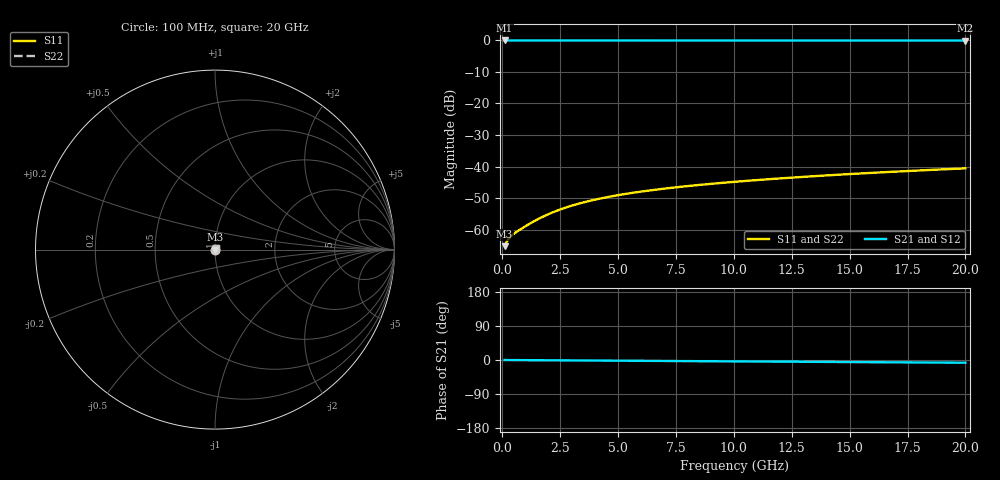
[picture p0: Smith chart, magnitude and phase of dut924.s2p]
! Touchstone file exported from HFSS 2026.1.0
!  File:  C:/ffzhzh/LocalFiles/Ansys_Project_Files/temp_train_BSMRDL_924_1783171772_43440.aedt
!  Generated:  09:30:43 PM Jul  4, 2026
!  Design:  BSMRDL
!  Project:  temp_train_BSMRDL_924_1783171772_43440
! Variables:
!  h_bsmrdl = 4.96um
!  h_ox = 20um
!  h_rdl = 5um
!  h_sub = 80um
!  h_tmrdl = 5um
!  h_tsv = 80um
!  h_via = 3um
!  l_bsmrdl = 114.65um
!  l_sub = 514.65um
!  l_tmrdl = 200um
!  m_sub = 200um
!  pitch = 30.26um
!  r_tsv = 6um
!  s_tmrdl = 10um
!  w_bsmrdl = 24.44um
!  w_sub = 500um
!  w_tmrdl = 12um
!  x_tsv_center1 = 206um
!  x_tsv_center2 = 345.09um
!  x_tsv_center3 = 557.09um
!  x_tsv_center4 = 696.18um
!  x_tsv_center5 = 908.18um
!  x_tsv_center6 = 1047.27um
# GHz S MA R 50.000000
! Terminal data exported
! Port[1] = BSM_RDL1_1_T1
! Port[2] = BSM_RDL1_1_T2
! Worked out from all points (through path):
!   200 points, 100 MHz to 20 GHz, reference 50 ohm
!   highest |S21| = 0.00 dB at 100 MHz (marker M1); lowest = 0.0 dB at 20 GHz (marker M2)
!   lowest |S11| = -65.3 dB at 100 MHz (marker M3), VSWR 1.00, Z = 50.1 + j0.0167 ohm
!   |S11| at or under -10 dB: start of sweep to end of sweep
!   |S22| runs from -65.3 to -40.6 dB; largest |S21 - S12| = 4e-15
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0.1  0.0005462 17.8  0.9995 -0.0  0.9995 -0.0  0.0005462 17.8
! Gamma 0 0 0 0
! Port Impedance 50 0 50 0
0.2  0.0006521 25.5  0.9994 -0.1  0.9994 -0.1  0.0006521 25.5
0.3  0.0007373 29.0  0.9994 -0.1  0.9994 -0.1  0.0007373 29.0
0.4  0.0008032 31.6  0.9993 -0.2  0.9993 -0.2  0.0008032 31.6
0.5  0.0008596 34.2  0.9993 -0.2  0.9993 -0.2  0.0008596 34.2
0.7  0.0009658 39.1  0.9993 -0.3  0.9993 -0.3  0.0009658 39.1
1  0.001133 45.4  0.9992 -0.4  0.9992 -0.4  0.001133 45.4
1.3  0.001314 50.2  0.9992 -0.5  0.9992 -0.5  0.001314 50.2
1.8  0.001633 55.2  0.9991 -0.7  0.9991 -0.7  0.001633 55.2
2.3  0.001957 58.0  0.999 -0.9  0.999 -0.9  0.001957 58.0
2.9  0.002337 59.7  0.9989 -1.1  0.9989 -1.1  0.002337 59.7
3.5  0.002699 60.4  0.9987 -1.3  0.9987 -1.3  0.002699 60.4
4.2  0.003097 60.8  0.9986 -1.6  0.9986 -1.6  0.003097 60.8
5  0.003521 60.8  0.9984 -1.8  0.9984 -1.8  0.003521 60.8
5.8  0.003916 60.8  0.9982 -2.1  0.9982 -2.1  0.003916 60.8
6.8  0.004379 60.7  0.998 -2.5  0.998 -2.5  0.004379 60.7
8.3  0.005026 60.6  0.9978 -3.0  0.9978 -3.0  0.005026 60.6
10.1  0.005756 60.6  0.9975 -3.7  0.9975 -3.7  0.005756 60.6
11.7  0.006377 60.6  0.9973 -4.2  0.9973 -4.2  0.006377 60.6
13.4  0.007017 60.5  0.9971 -4.8  0.9971 -4.8  0.007016 60.5
16.7  0.008213 60.3  0.9967 -6.0  0.9967 -6.0  0.008213 60.3
20  0.009362 60.0  0.9963 -7.2  0.9963 -7.2  0.009361 60.0
